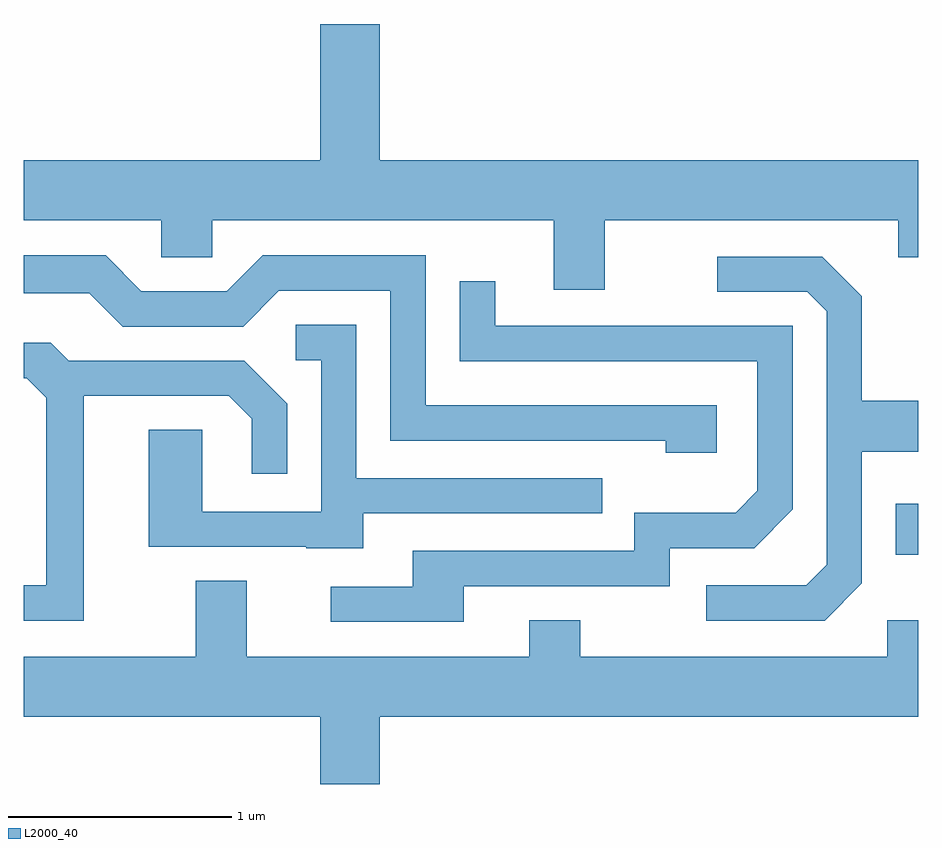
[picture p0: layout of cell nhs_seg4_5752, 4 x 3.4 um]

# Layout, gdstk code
import gdstk
lib = gdstk.Library(unit=1e-6, precision=1e-09)
def R(c, l, rs):  # rectangles x0, y0, x1, y1
    for r in rs: c.add(gdstk.rectangle(r[:2], r[2:], *l))
def P(c, l, *ps):  # polygons
    for p in ps: c.add(gdstk.Polygon(p, *l))
L2000_40 = (2000, 40)

nhs_seg4_5752 = lib.new_cell('nhs_seg4_5752')
R(nhs_seg4_5752, L2000_40, [(357.511,1335.421,357.611,1335.649)])
P(nhs_seg4_5752, L2000_40, [(353.611,1336.916),(354.226,1336.916),(354.226,1336.751),(354.454,1336.751),(354.454,1336.916),(355.981,1336.916),(355.981,1336.606),(356.209,1336.606),(356.209,1336.916),(357.521,1336.916),(357.521,1336.751),(357.611,1336.751),(357.611,1337.184),(355.204,1337.184),(355.204,1337.794),(354.936,1337.794),(354.936,1337.184),(353.611,1337.184)],
  [(356.709,1336.089),(355.409,1336.089),(355.409,1336.759),(354.679,1336.759),(354.519,1336.599),(354.137,1336.599),(353.977,1336.759),(353.611,1336.759),(353.611,1336.591),(353.904,1336.591),(354.054,1336.441),(354.592,1336.441),(354.752,1336.601),(355.251,1336.601),(355.251,1335.931),(356.481,1335.931),(356.481,1335.876),(356.709,1335.876)],
  [(357.359,1335.294),(357.359,1335.881),(357.611,1335.881),(357.611,1336.109),(357.359,1336.109),(357.359,1336.577),(357.182,1336.754),(356.713,1336.754),(356.713,1336.596),(357.114,1336.596),(357.201,1336.509),(357.201,1335.377),(357.109,1335.284),(356.663,1335.284),(356.663,1335.126),(357.192,1335.126)],
  [(355.579,1335.281),(356.499,1335.281),(356.499,1335.451),(356.877,1335.451),(357.049,1335.624),(357.049,1336.444),(355.719,1336.444),(355.719,1336.643),(355.561,1336.643),(355.561,1336.286),(356.891,1336.286),(356.891,1335.707),(356.794,1335.609),(356.341,1335.609),(356.341,1335.439),(355.351,1335.439),(355.351,1335.279),(354.983,1335.279),(354.983,1335.121),(355.579,1335.121)],
  [(355.129,1335.606),(356.198,1335.606),(356.198,1335.764),(355.099,1335.764),(355.099,1336.449),(354.828,1336.449),(354.828,1336.291),(354.941,1336.291),(354.941,1335.614),(354.409,1335.614),(354.409,1335.979),(354.171,1335.979),(354.171,1335.456),(354.875,1335.456),(354.875,1335.451),(355.129,1335.451)],
  [(353.879,1336.131),(354.529,1336.131),(354.631,1336.029),(354.631,1335.783),(354.789,1335.783),(354.789,1336.097),(354.597,1336.289),(353.812,1336.289),(353.732,1336.369),(353.611,1336.369),(353.611,1336.211),(353.624,1336.211),(353.711,1336.124),(353.711,1335.284),(353.611,1335.284),(353.611,1335.126),(353.879,1335.126)],
  [(355.204,1334.696),(357.611,1334.696),(357.611,1335.129),(357.471,1335.129),(357.471,1334.964),(356.099,1334.964),(356.099,1335.129),(355.871,1335.129),(355.871,1334.964),(354.609,1334.964),(354.609,1335.304),(354.381,1335.304),(354.381,1334.964),(353.611,1334.964),(353.611,1334.696),(354.936,1334.696),(354.936,1334.396),(355.204,1334.396)])

lib.write_gds('nhs_seg4_5752.gds')
